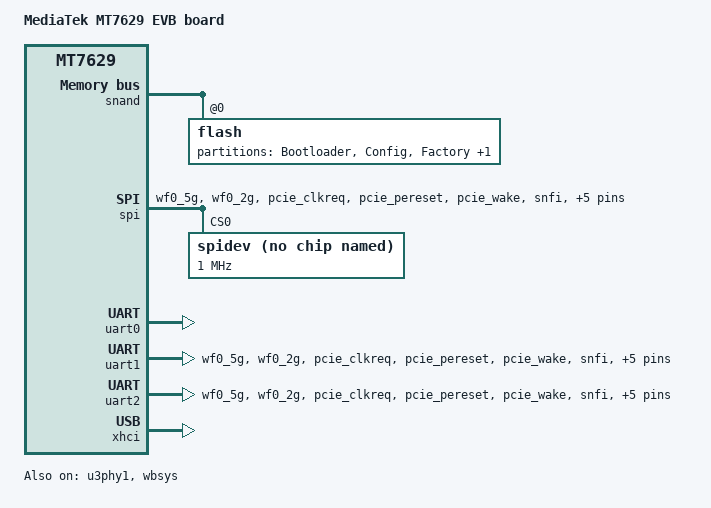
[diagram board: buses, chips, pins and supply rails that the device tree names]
/*
 * Copyright (c) 2017 MediaTek Inc.
 * Author: Dehui.Sun <dehui.sun@mediatek.com>
 *
 * This program is free software; you can redistribute it and/or modify
 * it under the terms of the GNU General Public License version 2 as
 * published by the Free Software Foundation.
 *
 * This program is distributed in the hope that it will be useful,
 * but WITHOUT ANY WARRANTY; without even the implied warranty of
 * MERCHANTABILITY or FITNESS FOR A PARTICULAR PURPOSE.  See the
 * GNU General Public License for more details.
 */

/dts-v1/;
#include "mt7629.dtsi"

/ {
	model = "MediaTek MT7629 EVB board";
	compatible = "mediatek,mt7629-evb", "mediatek,mt7629";

	chosen {
		bootargs = "earlycon=uart8250,mmio32,0x11002000 \
console=ttyS0,115200n1 loglevel=8";
	};

	gsw: gsw@0 {
		compatible = "mediatek,mt753x";
		mediatek,ethsys = <&ethsys>;
		#address-cells = <1>;
		#size-cells = <0>;
	};

	memory {
		device_type = "memory";
		reg = <0 0x40000000 0 0x10000000>;
	};
};


&eth {
	status = "okay";

	gmac0: mac@0 {
		compatible = "mediatek,eth-mac";
		reg = <0>;
		phy-mode = "sgmii";
		fixed-link {
			speed = <1000>;
			full-duplex;
			pause;
		};
	};

	gmac1: mac@1 {
		compatible = "mediatek,eth-mac";
		reg = <1>;
		phy-mode = "sgmii";
		fixed-link {
			speed = <1000>;
			full-duplex;
			pause;
		};
	};

	mdio: mdio-bus {
		#address-cells = <1>;
		#size-cells = <0>;
	};
};

&gsw {
	mediatek,mdio = <&mdio>;
	mediatek,portmap = "llllw";
	mediatek,mdio_master_pinmux = <2>;
	reset-gpios = <&pio 28 0>;
	interrupt-parent = <&pio>;
	interrupts = <6 IRQ_TYPE_LEVEL_HIGH>;

	port5: port@5 {
		compatible = "mediatek,mt753x-port";
		reg = <5>;
		phy-mode = "rgmii";

	};

	port6: port@6 {
		compatible = "mediatek,mt753x-port";
		reg = <6>;
		phy-mode = "sgmii";
		fixed-link {
			speed = <2500>;
			full-duplex;
		};
	};

	mdio-bus {
		#address-cells = <1>;
		#size-cells = <0>;

		phy0: ethernet-phy@5 {
			reg = <5>;
			phy-mode = "rgmii";
		};
	};
};

&hnat {
	mtketh-wan = "eth1";
	mtketh-ppd = "eth0";
	ext-devices = "ra0", "rax0", "apcli0", "apclix0";
	mtketh-max-gmac = <2>;
	status = "okay";
};

&i2c0 {
	pinctrl-names = "default";
	pinctrl-0 = <&i2c0_pins>;
};

&nor_flash {
	status = "okay";
	flash@0 {
		compatible = "jedec,spi-nor";
		#address-cells = <1>;
		#size-cells = <1>;
		partition@00000 {
			label = "Bootloader";
			reg = <0x00000 0x0060000>;
		};
		partition@60000 {
			label = "Config";
			reg = <0x60000 0x0010000>;
		};
		partition@70000 {
			label = "Factory";
			reg = <0x70000 0x0040000>;
		};
		partition@b0000 {
			label = "Kernel";
			reg = <0xb0000 0xb50000>;
		};
	};
};

&pcie {
	status = "disabled";
};

&pio {
	i2c0_pins: i2c0@0 {
		pins_bus {
			groups = "i2c_1";
			function = "i2c";
			bias-disable;
			drive-strength = <4>;
		};
	};

	nor_flash_pins: nor_flash_pins {
		pins_bus {
			groups = "nor_flash_io", "nor_flash_wp", \
				 "nor_flash_hold";
			function = "nor_flash";
		};
	};

	pinctrl_eth_default: eth-default {
		mux-wf0_5g {
			groups = "wf0_5g";
			function = "eth";
			drive-strength = <4>;
		};
		mux-wf0_2g {
			groups = "wf0_2g";
			function = "eth";
			drive-strength = <4>;
		};
	};

	pinctrl_pcie_default: pcie-default {
		mux-pcie_clkreq {
			groups = "pcie_clkreq";
			function = "pcie";
		};
		mux-pcie_pereset {
			groups = "pcie_pereset";
			function = "pcie";
		};
		mux-pcie_wake {
			groups = "pcie_wake";
			function = "pcie";
		};
	};

	pinctrl_snand_default: snand_default {
		pins_bus {
			groups = "snfi", "snfi_wp", "snfi_hold";
			function = "snfi";
		};
	};

	pinctrl_spi_default: spi_default {
		mux_spi {
			groups = "spi_0";
			function = "spi";
			bias-disable;
		};
	};

	uart1_pin: uart1-default {
		mux-uart {
			groups = "uart1_0_txd_rxd";
			function = "uart";
		};
	};

	uart2_pin: uart2-default {
		mux-uart {
			groups = "uart2_0_txd_rxd";
			function = "uart";
		};
		mux-flow {
			groups = "uart2_0_cts_rts";
			function = "uart";
		};
	};
};

&snand {
	status = "okay";
	flash@0 {
		partitions {
			compatible = "fixed-partitions";
			#address-cells = <1>;
			#size-cells = <1>;

			partition@0 {
				label = "Bootloader";
				reg = <0x00000 0x0100000>;
				read-only;
			};

			partition@100000 {
				label = "Config";
				reg = <0x100000 0x0040000>;
			};

			partition@140000 {
				label = "Factory";
				reg = <0x140000 0x0080000>;
			};

			partition@1c0000 {
				label = "Kernel";
				reg = <0x1c0000 0x1000000>;
			};
		};
	};
};

&spi {
	pinctrl-names = "default";
	pinctrl-0 = <&pinctrl_spi_default>;

	spidev: spi@0 {
		compatible = "rohm,dh2228fv";
		reg = <0>;
		spi-max-frequency = <1000000>;
	};
};

&u3phy1 {
	status = "okay";
};

&uart0 {
	status = "okay";
};

&uart1 {
	pinctrl-names = "default";
	pinctrl-0 = <&uart1_pin>;
	status = "okay";
};

&uart2 {
	pinctrl-names = "default";
	pinctrl-0 = <&uart2_pin>;
	status = "okay";
};

&wbsys {
	pinctrl-names = "default";
	pinctrl-0 = <&pinctrl_eth_default>;
	status = "okay";
};

&wifi_emi_loader {
	board_v11 = <1>;
};

&xhci {
	status = "okay";
};
